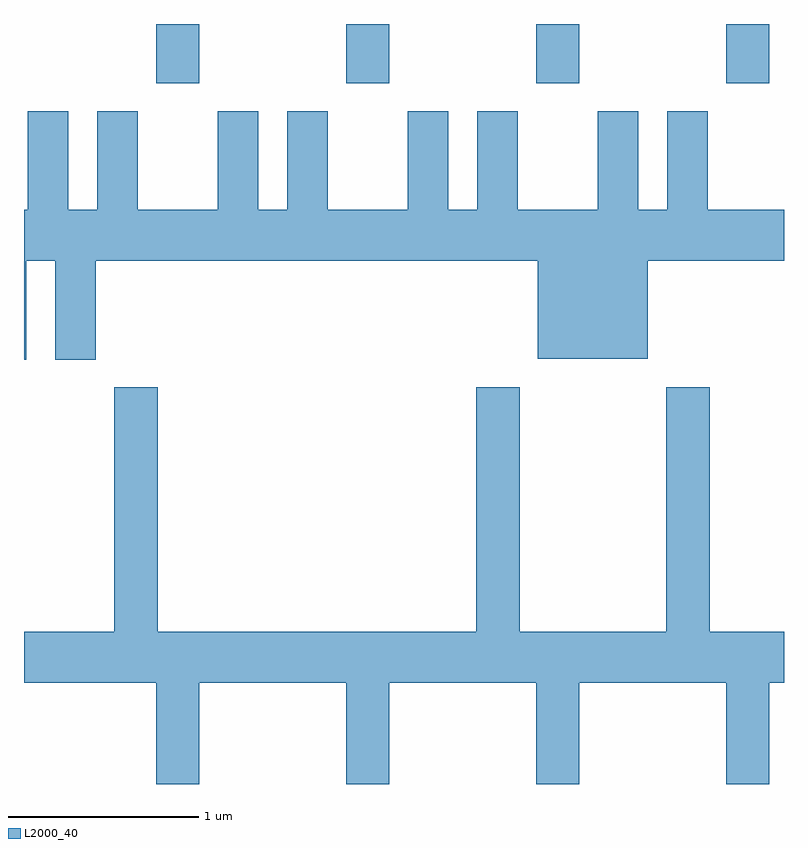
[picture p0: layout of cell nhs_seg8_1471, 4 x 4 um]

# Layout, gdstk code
import gdstk
lib = gdstk.Library(unit=1e-6, precision=1e-09)
def R(c, l, rs):  # rectangles x0, y0, x1, y1
    for r in rs: c.add(gdstk.rectangle(r[:2], r[2:], *l))
def A(c, l, x, y, w, h, nx, ny, dx, dy):  # array of equal rectangles
    R(c, l, [(x+i*dx, y+j*dy, x+i*dx+w, y+j*dy+h) for i in range(nx) for j in range(ny)])
def P(c, l, *ps):  # polygons
    for p in ps: c.add(gdstk.Polygon(p, *l))
L2000_40 = (2000, 40)

nhs_seg8_1471 = lib.new_cell('nhs_seg8_1471')
A(nhs_seg8_1471, L2000_40, 230.306, 1824.031, 0.228, 0.311, 4, 1, 1, 0)
P(nhs_seg8_1471, L2000_40, [(229.624,1823.096),(229.776,1823.096),(229.776,1822.576),(229.989,1822.576),(229.989,1823.096),(232.316,1823.096),(232.316,1822.581),(232.894,1822.581),(232.894,1823.096),(233.611,1823.096),(233.611,1823.364),(233.209,1823.364),(233.209,1823.884),(232.996,1823.884),(232.996,1823.364),(232.844,1823.364),(232.844,1823.884),(232.631,1823.884),(232.631,1823.364),(232.209,1823.364),(232.209,1823.884),(231.996,1823.884),(231.996,1823.364),(231.844,1823.364),(231.844,1823.884),(231.631,1823.884),(231.631,1823.364),(231.209,1823.364),(231.209,1823.884),(230.996,1823.884),(230.996,1823.364),(230.844,1823.364),(230.844,1823.884),(230.631,1823.884),(230.631,1823.364),(230.209,1823.364),(230.209,1823.884),(229.996,1823.884),(229.996,1823.364),(229.844,1823.364),(229.844,1823.884),(229.631,1823.884),(229.631,1823.364),(229.611,1823.364),(229.611,1822.576),(229.624,1822.576)],
  [(232.991,1822.429),(232.991,1821.144),(232.219,1821.144),(232.219,1822.429),(231.991,1822.429),(231.991,1821.144),(230.314,1821.144),(230.314,1822.429),(230.086,1822.429),(230.086,1821.144),(229.611,1821.144),(229.611,1820.876),(230.306,1820.876),(230.306,1820.342),(230.534,1820.342),(230.534,1820.876),(231.306,1820.876),(231.306,1820.342),(231.534,1820.342),(231.534,1820.876),(232.306,1820.876),(232.306,1820.342),(232.534,1820.342),(232.534,1820.876),(233.306,1820.876),(233.306,1820.342),(233.534,1820.342),(233.534,1820.876),(233.611,1820.876),(233.611,1821.144),(233.219,1821.144),(233.219,1822.429)])

lib.write_gds('nhs_seg8_1471.gds')
